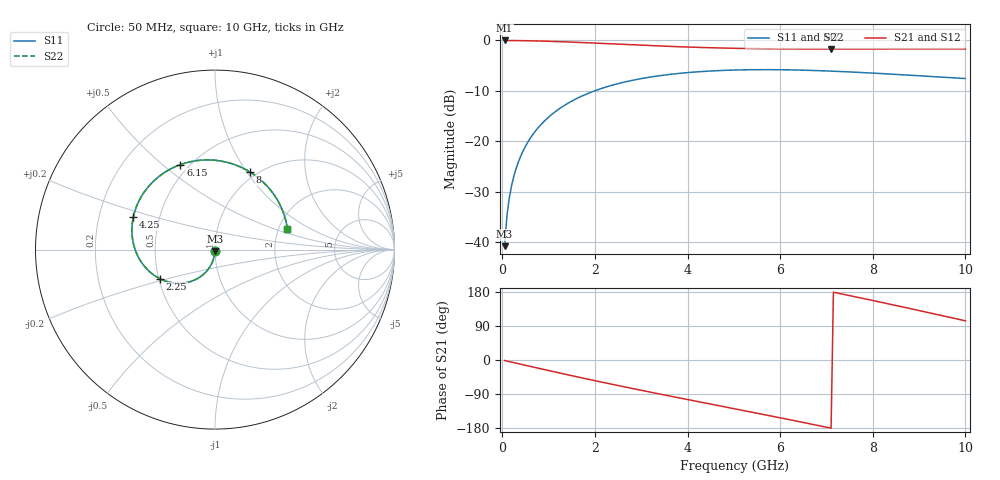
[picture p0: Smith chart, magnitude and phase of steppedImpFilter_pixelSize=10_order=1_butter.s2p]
! freq	dB(S11)	phase(S11)	dB(S12)	phase(S12)
!  dB(S21)	phase(S21)	dB(S22)	phase(S22)
!S-par simulation data
#  GHz  S  DB  R 50
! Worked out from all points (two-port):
!   200 points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, 50 MHz to 10 GHz, reference 50 ohm
!   highest |S21| = 0.00 dB at 50 MHz (marker M1); lowest = -1.7 dB at 7.1 GHz (marker M2)
!   |S21| within 3 dB of the highest: start of sweep to end of sweep
!   lowest |S11| = -40.8 dB at 50 MHz (marker M3), VSWR 1.02, Z = 50 - j0.91 ohm
!   |S11| at or under -10 dB: start of sweep to 1.994 GHz
!   |S22| runs from -40.8 to -5.8 dB; largest |S21 - S12| = 0
!   S11 on the Smith chart (normalised r, x): 50 MHz: 1.00, -0.02; 2.25 GHz: 0.51, -0.19; 4.25 GHz: 0.35, +0.17; 6.15 GHz: 0.45, +0.58; 8 GHz: 0.92, +1.03; 10 GHz: 2.24, +0.61
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0.05  -40.81 -91.5  -0.00 -1.4  -0.00 -1.4  -40.81 -91.5
0.1  -34.80 -93.1  -0.00 -2.8  -0.00 -2.8  -34.80 -93.1
0.15  -31.30 -94.7  -0.01 -4.2  -0.01 -4.2  -31.30 -94.7
0.2  -28.82 -96.2  -0.01 -5.6  -0.01 -5.6  -28.82 -96.2
0.35  -24.03 -100.5  -0.03 -9.8  -0.03 -9.8  -24.03 -100.5
0.5  -20.99 -104.7  -0.05 -14.0  -0.05 -14.0  -20.99 -104.7
0.7  -18.16 -110.3  -0.09 -19.6  -0.09 -19.6  -18.16 -110.3
1  -15.21 -118.6  -0.16 -27.8  -0.16 -27.8  -15.21 -118.6
1.35  -12.83 -128.1  -0.27 -37.4  -0.27 -37.4  -12.83 -128.1
1.75  -10.90 -138.9  -0.42 -48.0  -0.42 -48.0  -10.90 -138.8
2.25  -9.21 -151.9  -0.63 -61.0  -0.63 -61.0  -9.21 -151.9
2.8  -7.93 -166.0  -0.86 -75.0  -0.86 -75.0  -7.93 -165.9
3.4  -6.99 179.1  -1.10 -89.8  -1.10 -89.8  -6.99 179.1
4.25  -6.20 158.3  -1.38 -110.4  -1.38 -110.4  -6.20 158.4
5.05  -5.86 139.0  -1.57 -129.6  -1.57 -129.6  -5.86 139.0
6.15  -5.83 112.1  -1.69 -156.2  -1.69 -156.2  -5.83 112.2
6.7  -5.95 98.6  -1.71 -169.8  -1.71 -169.8  -5.95 98.6
7.1  -6.08 88.6  -1.72 -179.9  -1.72 -179.9  -6.08 88.7
8  -6.48 65.9  -1.71 157.0  -1.71 157.0  -6.48 66.0
8.35  -6.65 57.1  -1.70 147.9  -1.70 147.9  -6.65 57.2
9.25  -7.14 34.3  -1.69 123.8  -1.69 123.8  -7.14 34.4
10  -7.55 15.6  -1.70 103.4  -1.70 103.4  -7.55 15.7
